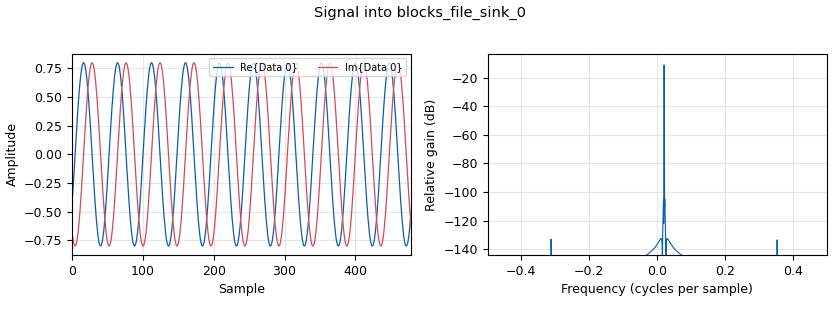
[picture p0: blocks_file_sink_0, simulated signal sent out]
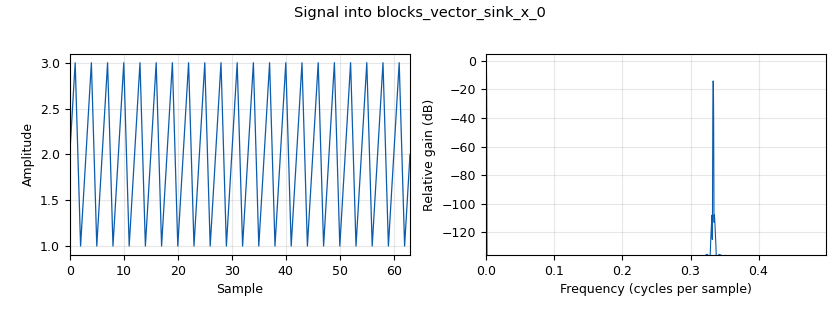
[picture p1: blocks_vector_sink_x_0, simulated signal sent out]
options:
  parameters:
    generate_options: qt_gui
    id: fg_ch14_001
    output_language: python
    title: FG-CH14-001
  states: {}

blocks:
- name: samp_rate
  id: variable
  parameters:
    value: '48000'
  states: {}
- name: analog_noise_source_x_0
  id: analog_noise_source_x
  parameters:
    amp: '0.1'
    noise_type: analog.GR_GAUSSIAN
    seed: '0'
    type: complex
  states: {}
- name: analog_sig_source_x_0
  id: analog_sig_source_x
  parameters:
    amp: '0.8'
    freq: '1000'
    offset: '0'
    phase: '0'
    samp_rate: samp_rate
    type: complex
    waveform: analog.GR_COS_WAVE
  states: {}
- name: blocks_file_sink_0
  id: blocks_file_sink
  parameters:
    file: echantillons.bin
    type: complex
  states: {}
- name: blocks_null_sink_0
  id: blocks_null_sink
  parameters:
    type: complex
  states: {}
- name: blocks_vector_sink_x_0
  id: blocks_vector_sink_x
  parameters:
    type: float
  states: {}
- name: blocks_vector_source_x_0
  id: blocks_vector_source_x
  parameters:
    repeat: 'True'
    type: float
    vector: (1, 2, 3)
  states: {}

connections:
- [analog_noise_source_x_0, '0', blocks_null_sink_0, '0']
- [analog_sig_source_x_0, '0', blocks_file_sink_0, '0']
- [blocks_vector_source_x_0, '0', blocks_vector_sink_x_0, '0']

metadata:
  file_format: 1
  grc_version: 3.10.12.0
